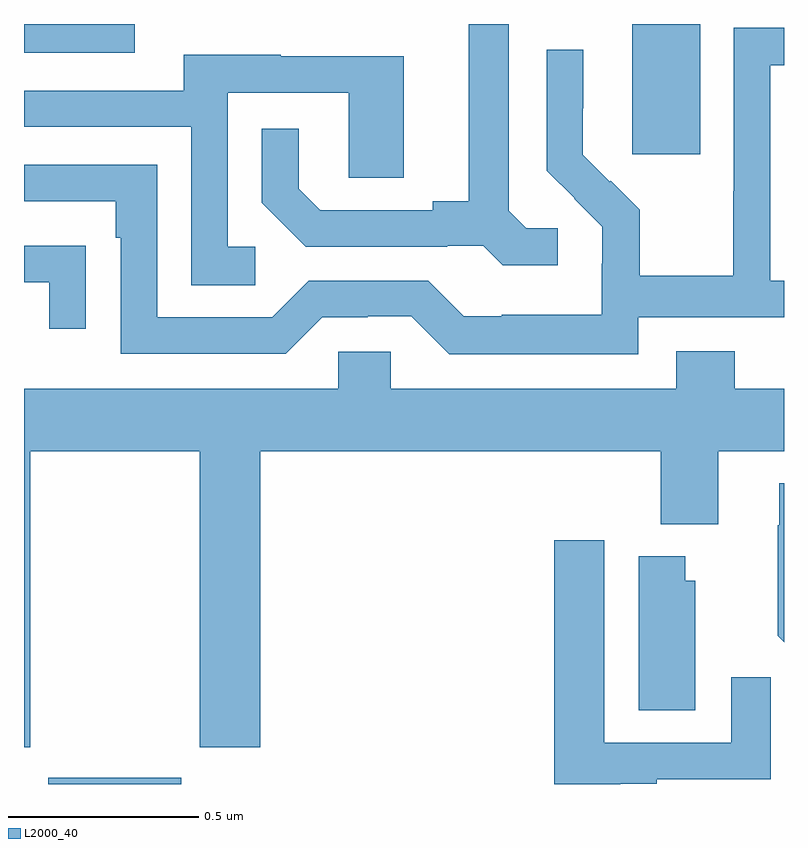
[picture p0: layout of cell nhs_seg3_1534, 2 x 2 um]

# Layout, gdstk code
import gdstk
lib = gdstk.Library(unit=1e-6, precision=1e-09)
def R(c, l, rs):  # rectangles x0, y0, x1, y1
    for r in rs: c.add(gdstk.rectangle(r[:2], r[2:], *l))
def P(c, l, *ps):  # polygons
    for p in ps: c.add(gdstk.Polygon(p, *l))
L2000_40 = (2000, 40)

nhs_seg3_1534 = lib.new_cell('nhs_seg3_1534')
R(nhs_seg3_1534, L2000_40, [(130.064,673.4,130.414,673.417), (131.6,675.057,131.779,675.4), (130,675.324,130.291,675.4)])
P(nhs_seg3_1534, L2000_40, [(131.404,674.862),(131.322,674.862),(131.275,674.909),(131.275,675.4),(131.171,675.4),(131.171,674.933),(131.075,674.933),(131.075,674.91),(130.78,674.91),(130.723,674.967),(130.723,675.124),(130.626,675.124),(130.626,674.93),(130.742,674.814),(131.114,674.814),(131.114,674.817),(131.208,674.817),(131.26,674.765),(131.404,674.765)],
  [(131.616,674.628),(132,674.628),(132,674.724),(131.964,674.724),(131.964,675.291),(132,675.291),(132,675.39),(131.868,675.39),(131.868,674.96),(131.866,674.96),(131.866,674.737),(131.621,674.737),(131.621,674.911),(131.544,674.988),(131.541,674.985),(131.471,675.056),(131.471,675.178),(131.472,675.178),(131.472,675.332),(131.376,675.332),(131.376,675.014),(131.449,674.941),(131.448,674.94),(131.522,674.866),(131.522,674.769),(131.52,674.769),(131.52,674.635),(131.257,674.635),(131.257,674.631),(131.157,674.631),(131.064,674.724),(130.749,674.724),(130.653,674.628),(130.35,674.628),(130.35,675.03),(130,675.03),(130,674.934),(130.241,674.934),(130.241,674.837),(130.254,674.837),(130.254,674.532),(130.689,674.532),(130.785,674.628),(130.904,674.628),(130.904,674.631),(131.019,674.631),(131.119,674.531),(131.616,674.531)],
  [(130.608,674.814),(130.536,674.814),(130.536,675.219),(130.854,675.219),(130.854,674.995),(130.999,674.995),(130.999,675.315),(130.675,675.315),(130.675,675.319),(130.421,675.319),(130.421,675.225),(130,675.225),(130,675.129),(130.44,675.129),(130.44,674.713),(130.608,674.713)],
  [(130.163,674.816),(130.061,674.816),(130.061,674.817),(130,674.817),(130,674.721),(130.067,674.721),(130.067,674.598),(130.163,674.598)],
  [(130.017,674.276),(130.462,674.276),(130.462,673.497),(130.622,673.497),(130.622,674.276),(131.675,674.276),(131.675,674.084),(131.827,674.084),(131.827,674.276),(132,674.276),(132,674.44),(131.87,674.44),(131.87,674.539),(131.717,674.539),(131.717,674.44),(130.965,674.44),(130.965,674.538),(130.827,674.538),(130.827,674.44),(130,674.44),(130,673.497),(130.017,673.497)],
  [(132,674.191),(131.987,674.191),(131.987,674.081),(131.983,674.081),(131.983,673.79),(132,673.773)],
  [(131.569,673.401),(131.665,673.401),(131.665,673.413),(131.965,673.413),(131.965,673.681),(131.861,673.681),(131.861,673.509),(131.527,673.509),(131.527,674.041),(131.396,674.041),(131.396,673.4),(131.569,673.4)],
  [(131.767,673.935),(131.74,673.935),(131.74,673.999),(131.618,673.999),(131.618,673.594),(131.767,673.594)])

lib.write_gds('nhs_seg3_1534.gds')
